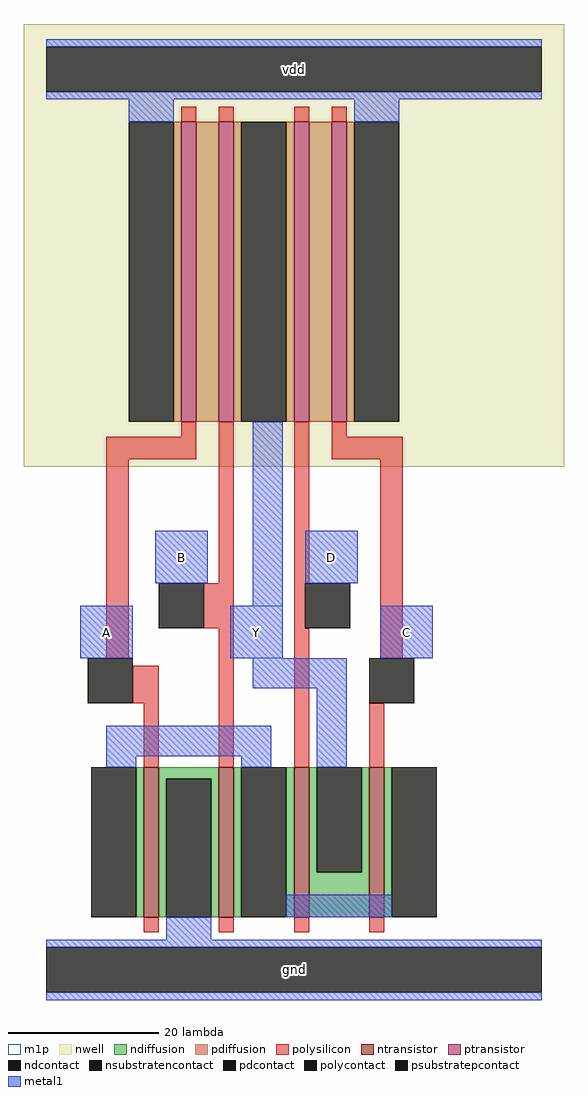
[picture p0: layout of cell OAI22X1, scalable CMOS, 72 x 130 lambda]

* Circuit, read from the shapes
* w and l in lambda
.subckt OAI22X1 A B C D Y vdd gnd
M1 gnd A n1 gnd nfet w=20 l=2
M2 n1 B gnd gnd nfet w=20 l=2
M3 Y D n1 gnd nfet w=20 l=2
M4 n1 C Y gnd nfet w=20 l=2
M5 n2 A vdd vdd pfet w=40 l=2
M6 Y B n2 vdd pfet w=40 l=2
M7 n3 D Y vdd pfet w=40 l=2
M8 vdd C n3 vdd pfet w=40 l=2
.ends

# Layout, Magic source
magic
tech scmos
magscale 1 2
<< nwell >>
rect -12 134 132 252
<< ntransistor >>
rect 20 14 24 54
rect 40 14 44 54
rect 60 14 64 54
rect 80 14 84 54
<< ptransistor >>
rect 30 146 34 226
rect 40 146 44 226
rect 60 146 64 226
rect 70 146 74 226
<< ndiffusion >>
rect 18 14 20 54
rect 24 51 40 54
rect 24 14 26 51
rect 38 14 40 51
rect 44 14 46 54
rect 58 14 60 54
rect 64 26 66 54
rect 78 26 80 54
rect 64 14 80 26
rect 84 14 86 54
<< pdiffusion >>
rect 28 146 30 226
rect 34 146 40 226
rect 44 146 46 226
rect 58 146 60 226
rect 64 146 70 226
rect 74 146 76 226
<< ndcontact >>
rect 6 14 18 54
rect 26 14 38 51
rect 46 14 58 54
rect 66 26 78 54
rect 86 14 98 54
<< pdcontact >>
rect 16 146 28 226
rect 46 146 58 226
rect 76 146 88 226
<< psubstratepcontact >>
rect -6 -6 126 6
<< nsubstratencontact >>
rect -6 234 126 246
<< polysilicon >>
rect 30 226 34 230
rect 40 226 44 230
rect 60 226 64 230
rect 70 226 74 230
rect 30 142 34 146
rect 10 136 34 142
rect 10 83 16 136
rect 40 103 44 146
rect 36 91 44 103
rect 17 71 24 81
rect 20 54 24 71
rect 40 54 44 91
rect 60 103 64 146
rect 70 142 74 146
rect 70 136 89 142
rect 60 91 63 103
rect 60 54 64 91
rect 83 83 89 136
rect 80 54 84 71
rect 20 10 24 14
rect 40 10 44 14
rect 60 10 64 14
rect 80 10 84 14
<< polycontact >>
rect 24 91 36 103
rect 5 71 17 83
rect 63 91 75 103
rect 80 71 92 83
<< metal1 >>
rect -6 246 126 248
rect -6 232 126 234
rect 16 226 28 232
rect 76 226 88 232
rect 23 103 37 117
rect 3 83 17 97
rect 49 97 57 146
rect 43 83 57 97
rect 63 103 77 117
rect 83 83 97 97
rect 49 75 74 83
rect 10 57 54 65
rect 10 54 18 57
rect 46 54 54 57
rect 66 54 74 75
rect 58 14 86 20
rect 26 8 38 14
rect -6 6 126 8
rect -6 -8 126 -6
<< m1p >>
rect 23 103 37 117
rect 63 103 77 117
rect 3 83 17 97
rect 43 83 57 97
rect 83 83 97 97
<< labels >>
rlabel metal1 -6 -8 126 8 0 gnd
port 6 nsew ground bidirectional abutment
rlabel metal1 3 83 17 97 0 A
port 0 nsew signal input
rlabel metal1 83 83 97 97 0 C
port 2 nsew signal input
rlabel metal1 43 83 57 97 0 Y
port 4 nsew signal output
rlabel metal1 63 103 77 117 0 D
port 3 nsew signal input
rlabel metal1 23 103 37 117 0 B
port 1 nsew signal input
rlabel metal1 -6 232 126 248 0 vdd
port 5 nsew power bidirectional abutment
<< properties >>
string FIXED_BBOX 0 0 120 240
string LEFclass CORE
string LEFsite core
string LEFsymmetry X Y
<< end >>
